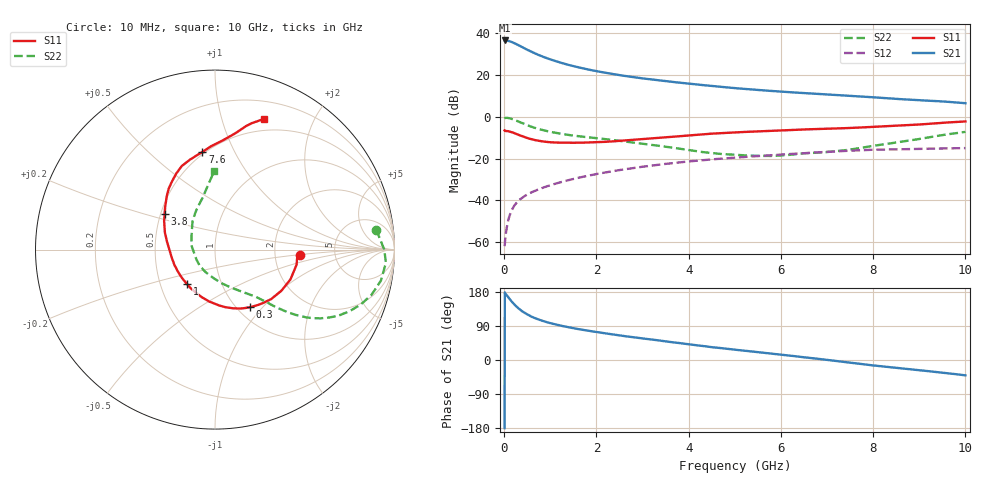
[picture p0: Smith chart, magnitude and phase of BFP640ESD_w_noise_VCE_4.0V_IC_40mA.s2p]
! Infineon Technologies  Discrete & RF Semiconductors
! BFP640ESD
! VCE =  4.0 V,  IC =  40 mA
! Common Emitter S-Parameters:  Jan 2016
# GHz  S  MA  R  50
!  f  S11  S21  S12  S22
! GHz  MAG  ANG  MAG  ANG  MAG  ANG  MAG  ANG
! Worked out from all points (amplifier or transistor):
!   233 points, 10 MHz to 10 GHz, reference 50 ohm
!   highest |S21| = 36.6 dB at 10 MHz (marker M1)
!   |S21| within 3 dB of that: start of sweep to 374.7 MHz
!   unconditionally stable (mu >= 1): start of sweep to 16.3 MHz; 2.335 GHz to 6.866 GHz
!   at 200 MHz: K = 0.37, MSG = 39.4 dB, |S12| = -43.2 dB
!   at 1.74 GHz: K = 0.97, MSG = 25.8 dB, |S12| = -28.5 dB
!   at 10 GHz: K = 0.89, MSG = 10.7 dB, |S12| = -14.9 dB
!   lowest NFmin = 1.27 dB at 450 MHz
!   S11 on the Smith chart (normalised r, x): 10 MHz: 2.78, -0.23; 300 MHz: 1.15, -0.86; 1 GHz: 0.68, -0.28; 3.8 GHz: 0.52, +0.24; 7.6 GHz: 0.48, +0.75; 10 GHz: 0.37, +1.38
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0.01  0.4738 -3.9  67.8 -179.8  0.0008 80.8  0.9052 7.0
0.02  0.4601 -4.1  67.52 176.6  0.0011 72.1  0.9431 0.0
0.04  0.4609 -8.4  67.03 173.3  0.0017 75.6  0.9504 -2.9
0.1  0.452 -21.6  65.76 164.0  0.0037 71.4  0.9405 -10.6
0.15  0.4351 -31.9  63.2 156.2  0.0054 73.8  0.9078 -16.1
0.2  0.4172 -41.4  60.09 149.3  0.0069 71.9  0.8676 -20.7
0.3  0.3764 -58.6  53.05 137.3  0.0095 69.4  0.7806 -28.1
0.36  0.3552 -67.6  48.97 131.4  0.0109 68.1  0.7309 -31.3
0.45  0.3267 -79.5  43.43 123.9  0.0128 67.0  0.6644 -35.1
0.6  0.2911 -96.4  35.93 113.9  0.0157 66.4  0.5756 -39.1
0.8  0.2618 -114.3  28.78 104.5  0.0194 66.3  0.4949 -42.2
1  0.2468 -129.3  23.83 97.2  0.023 66.5  0.4387 -44.4
1.3  0.2403 -146.3  18.82 88.7  0.0287 66.3  0.3833 -47.0
1.68  0.2414 -162.2  14.79 80.0  0.0362 65.4  0.3377 -50.0
2.4  0.2614 175.4  10.45 66.7  0.0511 61.6  0.2758 -57.8
3.4  0.3182 152.6  7.402 50.8  0.0726 53.6  0.2002 -75.5
3.8  0.3445 144.6  6.61 44.7  0.0813 49.9  0.1733 -85.5
5.1  0.4308 126.1  4.79 25.9  0.1076 37.3  0.122 -135.8
6.8  0.5121 107.9  3.551 3.2  0.1413 20.7  0.1392 161.1
7.6  0.5487 97.4  3.151 -8.3  0.157 11.7  0.1713 138.6
8.4  0.605 86.7  2.748 -19.5  0.1667 2.2  0.2347 117.6
10  0.7785 69.4  2.129 -40.5  0.1793 -13.7  0.4379 90.6
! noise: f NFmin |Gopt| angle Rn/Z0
0.45  1.27  0.26  -167  0.1
0.9  1.28  0.28  -162  0.09
1.9  1.31  0.3  -138  0.16
2.4  1.32  0.31  -132  0.13
5.5  1.54  0.48  -100  0.22
10  2.09  0.6  -72  0.97
